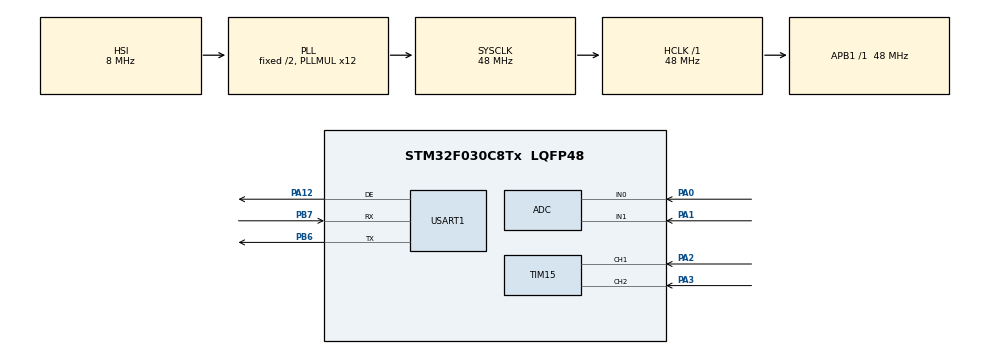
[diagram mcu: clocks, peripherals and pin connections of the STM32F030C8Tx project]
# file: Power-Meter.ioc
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ADC.ClockPrescaler=ADC_CLOCK_ASYNC_DIV1
ADC.ContinuousConvMode=ENABLE
ADC.ExternalTrigConv=ADC_SOFTWARE_START
Dma.ADC.0.Direction=DMA_PERIPH_TO_MEMORY
Dma.ADC.0.Instance=DMA1_Channel1
Dma.ADC.0.MemDataAlignment=DMA_MDATAALIGN_WORD
Dma.ADC.0.MemInc=DMA_MINC_ENABLE
Dma.ADC.0.Mode=DMA_CIRCULAR
Dma.ADC.0.PeriphDataAlignment=DMA_PDATAALIGN_WORD
Dma.ADC.0.PeriphInc=DMA_PINC_DISABLE
Dma.ADC.0.Priority=DMA_PRIORITY_LOW
Dma.Request0=ADC
Mcu.Family=STM32F0
Mcu.Name=STM32F030C8Tx
Mcu.Package=LQFP48
NVIC.DMA1_Channel1_IRQn=true\:0\:0\:false\:false\:true\:false\:true
NVIC.TIM15_IRQn=true\:0\:0\:false\:false\:true\:true\:true
PA0.Mode=IN0
PA0.Signal=ADC_IN0
PA1.Mode=IN1
PA1.Signal=ADC_IN1
PA12.Mode=Hardware Flow Control (RS485)
PA12.Signal=USART1_DE
PA13.Mode=Serial_Wire
PA13.Signal=SYS_SWDIO
PA14.Mode=Serial_Wire
PA14.Signal=SYS_SWCLK
PA2.Signal=S_TIM15_CH1
PA3.Signal=S_TIM15_CH2
PB6.Mode=Asynchronous
PB6.Signal=USART1_TX
PB7.Mode=Asynchronous
PB7.Signal=USART1_RX
PC14-OSC32_IN.Mode=LSE-External-Oscillator
PC14-OSC32_IN.Signal=RCC_OSC32_IN
PC15-OSC32_OUT.Mode=LSE-External-Oscillator
PC15-OSC32_OUT.Signal=RCC_OSC32_OUT
ProjectManager.HeapSize=0x200
ProjectManager.StackSize=0x400
ProjectManager.TargetToolchain=STM32CubeIDE
RCC.AHBFreq_Value=48000000
RCC.APB1Freq_Value=48000000
RCC.APB1TimFreq_Value=48000000
RCC.HCLKFreq_Value=48000000
RCC.PLLMUL=RCC_PLL_MUL12
RCC.SYSCLKFreq_VALUE=48000000
RCC.SYSCLKSource=RCC_SYSCLKSOURCE_PLLCLK
SH.S_TIM15_CH1.0=TIM15_CH1,Input_Capture1_from_TI1
SH.S_TIM15_CH2.0=TIM15_CH2,Input_Capture2_from_TI2
TIM15.Channel-Input_Capture1_from_TI1=TIM_CHANNEL_1
TIM15.Channel-Input_Capture2_from_TI2=TIM_CHANNEL_2
USART1.VirtualMode-Asynchronous=VM_ASYNC
USART1.VirtualMode-Hardware\ Flow\ Control\ (RS485)=VM_ASYNC
VP_RTC_VS_RTC_Activate.Mode=RTC_Enabled
VP_TIM15_VS_ClockSourceINT.Mode=Internal
board=custom

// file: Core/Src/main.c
/* USER CODE BEGIN Header */
/**
  ******************************************************************************
  * @file           : main.c
  * @brief          : Main program body
  ******************************************************************************
  * @attention
  *
  * Copyright (c) 2022 STMicroelectronics.
  * All rights reserved.
  *
  * This software is licensed under terms that can be found in the LICENSE file
  * in the root directory of this software component.
  * If no LICENSE file comes with this software, it is provided AS-IS.
  *
  ******************************************************************************
  */
/* USER CODE END Header */
#include "main.h"

ADC_HandleTypeDef hadc;
DMA_HandleTypeDef hdma_adc;

RTC_HandleTypeDef hrtc;

TIM_HandleTypeDef htim15;

UART_HandleTypeDef huart1;

void SystemClock_Config(void);
static void MX_GPIO_Init(void);
static void MX_ADC_Init(void);
static void MX_DMA_Init(void);
static void MX_USART1_UART_Init(void);
static void MX_RTC_Init(void);
static void MX_TIM15_Init(void);

/* USER CODE BEGIN 0 */
#define TIMCLOCK 64000000
#define PRESCALAR 64
uint32_t IC_Val1 = 0;
uint32_t IC_Val2 = 0;
uint32_t Difference = 0;
int Is_First_Captured = 0;

float VADC, IADC;
uint32_t value[2];

float frequency = 0;

void HAL_TIM_IC_CaptureCallback(TIM_HandleTypeDef *htim)
{
	if (htim->Channel == HAL_TIM_ACTIVE_CHANNEL_1)
		{
			if (Is_First_Captured==0) // if the first rising edge is not captured
			{
				IC_Val1 = HAL_TIM_ReadCapturedValue(htim, TIM_CHANNEL_1); // read the first value
				Is_First_Captured = 1;  // set the first captured as true
			}

			else   // If the first rising edge is captured, now we will capture the second edge
			{
				IC_Val2 = HAL_TIM_ReadCapturedValue(htim, TIM_CHANNEL_1);  // read second value

				if (IC_Val2 > IC_Val1)
				{
					Difference = IC_Val2-IC_Val1;
				}

				else if (IC_Val1 > IC_Val2)
				{
					Difference = (0xffffffff - IC_Val1) + IC_Val2;
				}

				float refClock = TIMCLOCK/(PRESCALAR);

				frequency = refClock/Difference;

				__HAL_TIM_SET_COUNTER(htim, 0);  // reset the counter
				Is_First_Captured = 0; // set it back to false
			}
		}
}
/* USER CODE END 0 */

int main(void)
{

  /* MCU Configuration--------------------------------------------------------*/

  /* Reset of all peripherals, Initializes the Flash interface and the Systick. */
  HAL_Init();

  /* Configure the system clock */
  SystemClock_Config();

  /* Initialize all configured peripherals */
  MX_GPIO_Init();
  MX_ADC_Init();
  MX_DMA_Init();
  MX_USART1_UART_Init();
  MX_RTC_Init();
  MX_TIM15_Init();
  /* USER CODE BEGIN 2 */

  HAL_TIM_IC_Start_IT(&htim15, TIM_CHANNEL_1);

  /* USER CODE END 2 */

  /* Infinite loop */
  /* USER CODE BEGIN WHILE */
  while (1)
  {
	  HAL_ADC_Start_DMA(&hadc, value, 2);
	  VADC = value[0];
	  IADC = value[1];
	  HAL_Delay(1000);

    /* USER CODE END WHILE */

  }
}

void SystemClock_Config(void)
{
  RCC_OscInitTypeDef RCC_OscInitStruct = {0};
  RCC_ClkInitTypeDef RCC_ClkInitStruct = {0};
  RCC_PeriphCLKInitTypeDef PeriphClkInit = {0};

  /** Initializes the RCC Oscillators according to the specified parameters
  * in the RCC_OscInitTypeDef structure.
  */
  RCC_OscInitStruct.OscillatorType = RCC_OSCILLATORTYPE_HSI|RCC_OSCILLATORTYPE_HSI14
                              |RCC_OSCILLATORTYPE_LSI;
  RCC_OscInitStruct.HSIState = RCC_HSI_ON;
  RCC_OscInitStruct.HSI14State = RCC_HSI14_ON;
  RCC_OscInitStruct.HSICalibrationValue = RCC_HSICALIBRATION_DEFAULT;
  RCC_OscInitStruct.HSI14CalibrationValue = 16;
  RCC_OscInitStruct.LSIState = RCC_LSI_ON;
  RCC_OscInitStruct.PLL.PLLState = RCC_PLL_ON;
  RCC_OscInitStruct.PLL.PLLSource = RCC_PLLSOURCE_HSI;
  RCC_OscInitStruct.PLL.PLLMUL = RCC_PLL_MUL12;
  RCC_OscInitStruct.PLL.PREDIV = RCC_PREDIV_DIV1;
  if (HAL_RCC_OscConfig(&RCC_OscInitStruct) != HAL_OK)
  {
    Error_Handler();
  }
  /** Initializes the CPU, AHB and APB buses clocks
  */
  RCC_ClkInitStruct.ClockType = RCC_CLOCKTYPE_HCLK|RCC_CLOCKTYPE_SYSCLK
                              |RCC_CLOCKTYPE_PCLK1;
  RCC_ClkInitStruct.SYSCLKSource = RCC_SYSCLKSOURCE_PLLCLK;
  RCC_ClkInitStruct.AHBCLKDivider = RCC_SYSCLK_DIV1;
  RCC_ClkInitStruct.APB1CLKDivider = RCC_HCLK_DIV1;

  if (HAL_RCC_ClockConfig(&RCC_ClkInitStruct, FLASH_LATENCY_1) != HAL_OK)
  {
    Error_Handler();
  }
  PeriphClkInit.PeriphClockSelection = RCC_PERIPHCLK_USART1|RCC_PERIPHCLK_RTC;
  PeriphClkInit.Usart1ClockSelection = RCC_USART1CLKSOURCE_PCLK1;
  PeriphClkInit.RTCClockSelection = RCC_RTCCLKSOURCE_LSI;
  if (HAL_RCCEx_PeriphCLKConfig(&PeriphClkInit) != HAL_OK)
  {
    Error_Handler();
  }
}

static void MX_ADC_Init(void)
{

  ADC_ChannelConfTypeDef sConfig = {0};

  /** Configure the global features of the ADC (Clock, Resolution, Data Alignment and number of conversion)
  */
  hadc.Instance = ADC1;
  hadc.Init.ClockPrescaler = ADC_CLOCK_ASYNC_DIV1;
  hadc.Init.Resolution = ADC_RESOLUTION_12B;
  hadc.Init.DataAlign = ADC_DATAALIGN_RIGHT;
  hadc.Init.ScanConvMode = ADC_SCAN_DIRECTION_FORWARD;
  hadc.Init.EOCSelection = ADC_EOC_SINGLE_CONV;
  hadc.Init.LowPowerAutoWait = DISABLE;
  hadc.Init.LowPowerAutoPowerOff = DISABLE;
  hadc.Init.ContinuousConvMode = ENABLE;
  hadc.Init.DiscontinuousConvMode = DISABLE;
  hadc.Init.ExternalTrigConv = ADC_SOFTWARE_START;
  hadc.Init.ExternalTrigConvEdge = ADC_EXTERNALTRIGCONVEDGE_NONE;
  hadc.Init.DMAContinuousRequests = DISABLE;
  hadc.Init.Overrun = ADC_OVR_DATA_PRESERVED;
  if (HAL_ADC_Init(&hadc) != HAL_OK)
  {
    Error_Handler();
  }
  /** Configure for the selected ADC regular channel to be converted.
  */
  sConfig.Channel = ADC_CHANNEL_0;
  sConfig.Rank = ADC_RANK_CHANNEL_NUMBER;
  sConfig.SamplingTime = ADC_SAMPLETIME_1CYCLE_5;
  if (HAL_ADC_ConfigChannel(&hadc, &sConfig) != HAL_OK)
  {
    Error_Handler();
  }
  /** Configure for the selected ADC regular channel to be converted.
  */
  sConfig.Channel = ADC_CHANNEL_1;
  if (HAL_ADC_ConfigChannel(&hadc, &sConfig) != HAL_OK)
  {
    Error_Handler();
  }

}

static void MX_RTC_Init(void)
{

  /** Initialize RTC Only
  */
  hrtc.Instance = RTC;
  hrtc.Init.HourFormat = RTC_HOURFORMAT_24;
  hrtc.Init.AsynchPrediv = 127;
  hrtc.Init.SynchPrediv = 255;
  hrtc.Init.OutPut = RTC_OUTPUT_DISABLE;
  hrtc.Init.OutPutPolarity = RTC_OUTPUT_POLARITY_HIGH;
  hrtc.Init.OutPutType = RTC_OUTPUT_TYPE_OPENDRAIN;
  if (HAL_RTC_Init(&hrtc) != HAL_OK)
  {
    Error_Handler();
  }

}

static void MX_TIM15_Init(void)
{

  TIM_ClockConfigTypeDef sClockSourceConfig = {0};
  TIM_MasterConfigTypeDef sMasterConfig = {0};
  TIM_IC_InitTypeDef sConfigIC = {0};

  htim15.Instance = TIM15;
  htim15.Init.Prescaler = 0;
  htim15.Init.CounterMode = TIM_COUNTERMODE_UP;
  htim15.Init.Period = 65535;
  htim15.Init.ClockDivision = TIM_CLOCKDIVISION_DIV1;
  htim15.Init.RepetitionCounter = 0;
  htim15.Init.AutoReloadPreload = TIM_AUTORELOAD_PRELOAD_DISABLE;
  if (HAL_TIM_Base_Init(&htim15) != HAL_OK)
  {
    Error_Handler();
  }
  sClockSourceConfig.ClockSource = TIM_CLOCKSOURCE_INTERNAL;
  if (HAL_TIM_ConfigClockSource(&htim15, &sClockSourceConfig) != HAL_OK)
  {
    Error_Handler();
  }
  if (HAL_TIM_IC_Init(&htim15) != HAL_OK)
  {
    Error_Handler();
  }
  sMasterConfig.MasterOutputTrigger = TIM_TRGO_RESET;
  sMasterConfig.MasterSlaveMode = TIM_MASTERSLAVEMODE_DISABLE;
  if (HAL_TIMEx_MasterConfigSynchronization(&htim15, &sMasterConfig) != HAL_OK)
  {
    Error_Handler();
  }
  sConfigIC.ICPolarity = TIM_INPUTCHANNELPOLARITY_RISING;
  sConfigIC.ICSelection = TIM_ICSELECTION_DIRECTTI;
  sConfigIC.ICPrescaler = TIM_ICPSC_DIV1;
  sConfigIC.ICFilter = 0;
  if (HAL_TIM_IC_ConfigChannel(&htim15, &sConfigIC, TIM_CHANNEL_1) != HAL_OK)
  {
    Error_Handler();
  }
  if (HAL_TIM_IC_ConfigChannel(&htim15, &sConfigIC, TIM_CHANNEL_2) != HAL_OK)
  {
    Error_Handler();
  }

}

static void MX_USART1_UART_Init(void)
{

  huart1.Instance = USART1;
  huart1.Init.BaudRate = 38400;
  huart1.Init.WordLength = UART_WORDLENGTH_8B;
  huart1.Init.StopBits = UART_STOPBITS_1;
  huart1.Init.Parity = UART_PARITY_NONE;
  huart1.Init.Mode = UART_MODE_TX_RX;
  huart1.Init.HwFlowCtl = UART_HWCONTROL_NONE;
  huart1.Init.OverSampling = UART_OVERSAMPLING_16;
  huart1.Init.OneBitSampling = UART_ONE_BIT_SAMPLE_DISABLE;
  huart1.AdvancedInit.AdvFeatureInit = UART_ADVFEATURE_NO_INIT;
  if (HAL_RS485Ex_Init(&huart1, UART_DE_POLARITY_HIGH, 0, 0) != HAL_OK)
  {
    Error_Handler();
  }

}

static void MX_DMA_Init(void)
{

  /* DMA controller clock enable */
  __HAL_RCC_DMA1_CLK_ENABLE();

  /* DMA interrupt init */
  /* DMA1_Channel1_IRQn interrupt configuration */
  HAL_NVIC_SetPriority(DMA1_Channel1_IRQn, 0, 0);
  HAL_NVIC_EnableIRQ(DMA1_Channel1_IRQn);

}

static void MX_GPIO_Init(void)
{

  /* GPIO Ports Clock Enable */
  __HAL_RCC_GPIOC_CLK_ENABLE();
  __HAL_RCC_GPIOA_CLK_ENABLE();
  __HAL_RCC_GPIOB_CLK_ENABLE();

}

void Error_Handler(void)
{
  __disable_irq();
  while (1)
  {
  }
}
